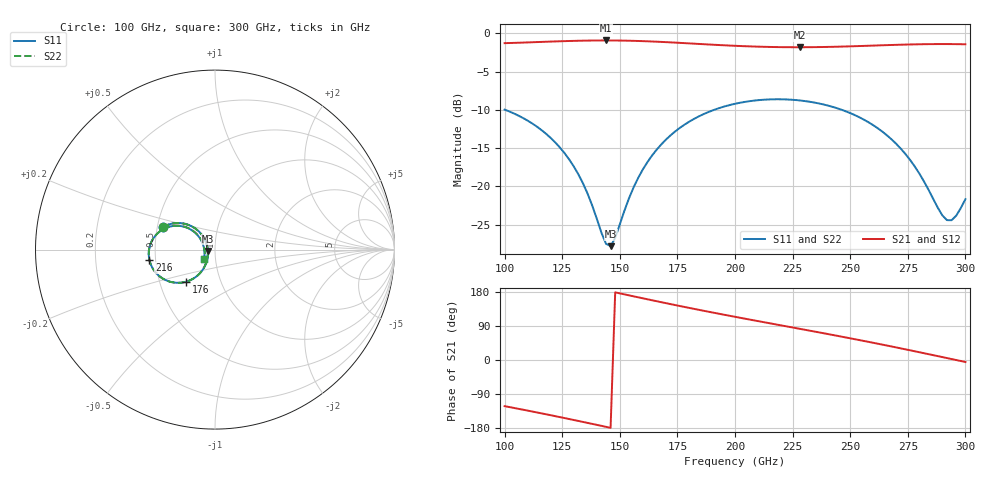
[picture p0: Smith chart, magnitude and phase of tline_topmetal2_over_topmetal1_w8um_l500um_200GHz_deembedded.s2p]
! Created with skrf 2.2.0 (http://scikit-rf.org).
# GHz S DB R 50.0
! Port[1] = P1
! Port[2] = P2
!freq dBS11 angS11 dBS21 angS21 dBS12 angS12 dBS22 angS22
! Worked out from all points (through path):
!   101 points, 100 GHz to 300 GHz, reference 50 ohm
!   highest |S21| = -0.94 dB at 144 GHz (marker M1); lowest = -1.8 dB at 228 GHz (marker M2)
!   group delay of S21, straight-line fit = 3.35 ps
!   lowest |S11| = -27.8 dB at 146 GHz (marker M3), VSWR 1.08, Z = 46.2 - j0.745 ohm
!   |S11| at or under -10 dB: 100.2 GHz to 191 GHz (90.86 GHz wide, 62.4 % of centre); 246.3 GHz to end of sweep
!   |S22| runs from -27.8 to -8.6 dB; largest |S21 - S12| = 1e-14
!   S11 on the Smith chart (normalised r, x): 100 GHz: 0.53, +0.15; 176 GHz: 0.68, -0.26; 216 GHz: 0.46, -0.06; 300 GHz: 0.88, -0.10
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100  -9.98 156.9  -1.30 -121.8  -1.30 -121.8  -9.97 156.9
120  -13.68 137.6  -1.09 -145.7  -1.09 -145.7  -13.66 137.7
128  -16.48 132.3  -1.01 -155.7  -1.01 -155.7  -16.46 132.4
134  -19.60 132.0  -0.97 -163.4  -0.97 -163.4  -19.57 132.1
144  -27.51 170.1  -0.94 -176.4  -0.94 -176.4  -27.45 169.8
146  -27.82 -168.6  -0.95 -179.0  -0.95 -179.0  -27.79 -168.9
148  -26.74 -149.3  -0.95 178.4  -0.95 178.4  -26.73 -149.7
154  -21.56 -124.5  -0.98 170.6  -0.98 170.6  -21.57 -124.7
158  -18.89 -121.4  -1.01 165.4  -1.01 165.4  -18.90 -121.5
168  -14.53 -125.2  -1.13 152.6  -1.13 152.6  -14.53 -125.2
176  -12.38 -132.0  -1.26 142.6  -1.26 142.6  -12.38 -132.0
188  -10.35 -143.5  -1.46 128.0  -1.46 128.0  -10.35 -143.5
200  -9.22 -155.4  -1.64 114.0  -1.64 114.0  -9.22 -155.4
216  -8.64 -171.1  -1.80 95.9  -1.80 95.9  -8.63 -171.1
228  -8.78 177.3  -1.83 82.4  -1.83 82.4  -8.77 177.2
234  -9.03 171.5  -1.82 75.7  -1.82 75.7  -9.03 171.5
252  -10.70 154.8  -1.69 54.9  -1.69 54.9  -10.69 154.7
268  -13.88 142.4  -1.53 35.6  -1.53 35.6  -13.87 142.2
278  -17.40 139.9  -1.45 23.1  -1.45 23.1  -17.40 139.5
292  -24.42 178.9  -1.42 5.1  -1.42 5.1  -24.58 178.3
296  -23.84 -155.4  -1.42 -0.1  -1.42 -0.1  -24.03 -155.4
300  -21.69 -138.6  -1.44 -5.2  -1.44 -5.2  -21.83 -138.2
